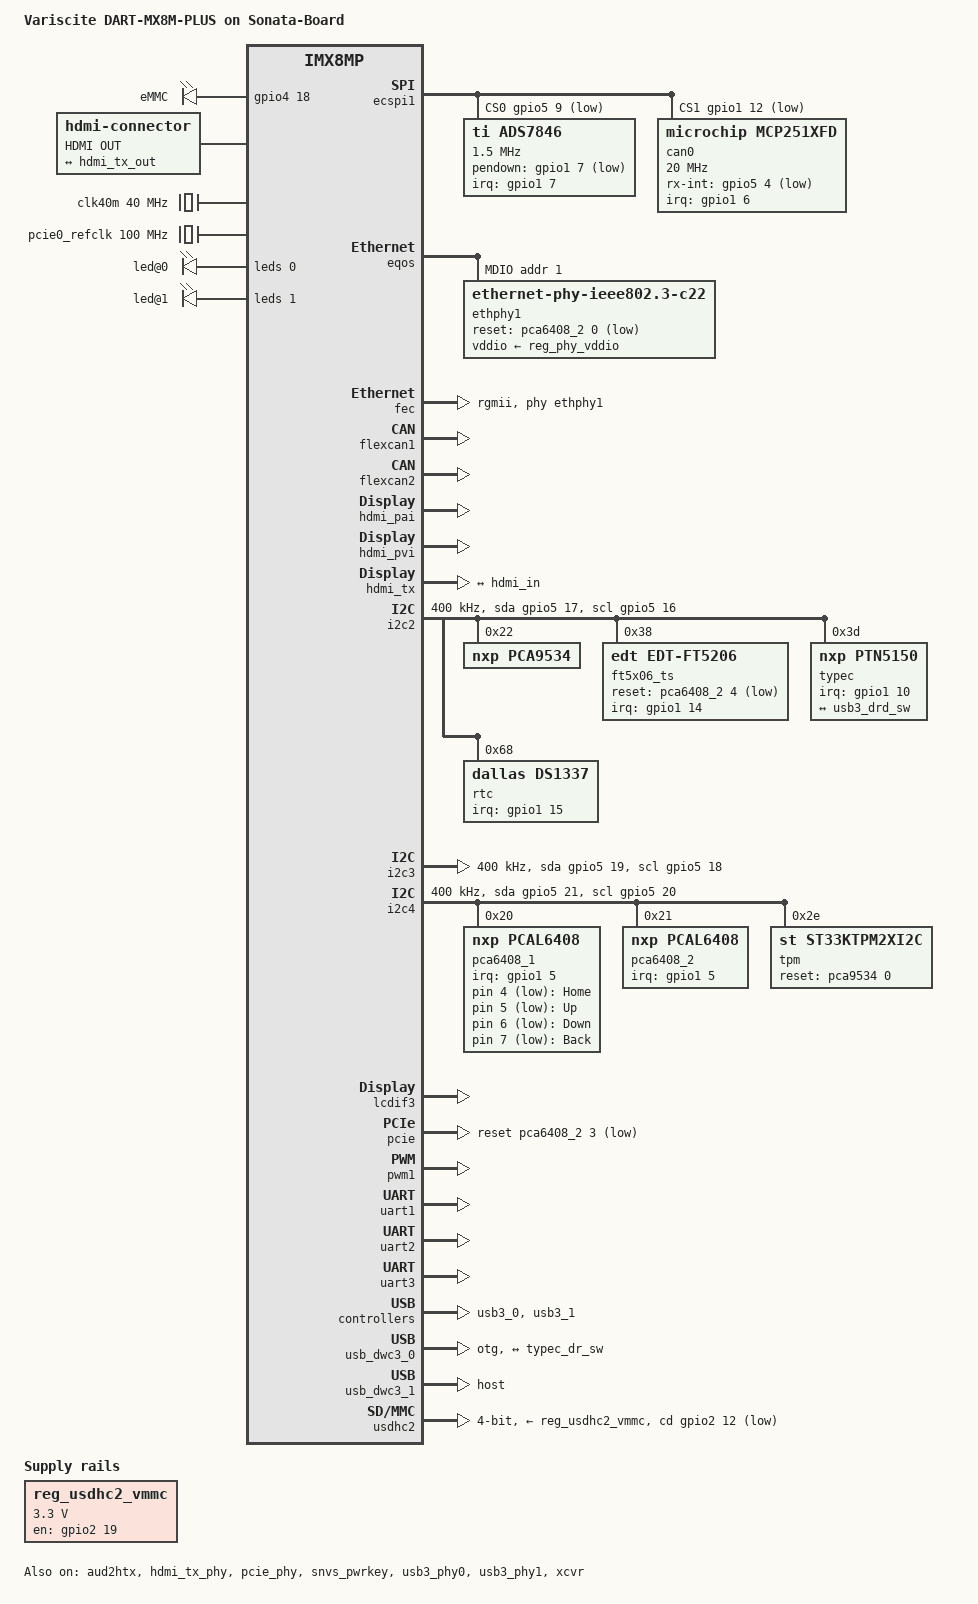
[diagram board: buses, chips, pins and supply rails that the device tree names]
// SPDX-License-Identifier: (GPL-2.0+ OR MIT)
/*
 * Variscite Sonata carrier board for DART-MX8M-PLUS
 *
 * Link: https://variscite.com/carrier-boards/sonata-board/
 *
 * Copyright (C) 2026 Variscite Ltd. - https://www.variscite.com/
 *
 */

/dts-v1/;

#include <dt-bindings/leds/common.h>
#include <dt-bindings/phy/phy-imx8-pcie.h>
#include "imx8mp-var-dart.dtsi"

/ {
	model = "Variscite DART-MX8M-PLUS on Sonata-Board";
	compatible = "variscite,var-dart-mx8mp-sonata",
		     "variscite,var-dart-mx8mp",
		     "fsl,imx8mp";

	chosen {
		stdout-path = &uart1;
	};

	gpio-keys {
		compatible = "gpio-keys";

		button-home {
			label = "Home";
			linux,code = <KEY_HOME>;
			gpios = <&pca6408_1 4 GPIO_ACTIVE_LOW>;
			wakeup-source;
		};

		button-up {
			label = "Up";
			linux,code = <KEY_UP>;
			gpios = <&pca6408_1 5 GPIO_ACTIVE_LOW>;
			wakeup-source;
		};

		button-down {
			label = "Down";
			linux,code = <KEY_DOWN>;
			gpios = <&pca6408_1 6 GPIO_ACTIVE_LOW>;
			wakeup-source;
		};

		button-back {
			label = "Back";
			linux,code = <KEY_BACK>;
			gpios = <&pca6408_1 7 GPIO_ACTIVE_LOW>;
			wakeup-source;
		};
	};

	gpio-leds {
		compatible = "gpio-leds";
		pinctrl-names = "default";
		pinctrl-0 = <&pinctrl_gpio_leds>;

		led-emmc {
			gpios = <&gpio4 18 GPIO_ACTIVE_HIGH>;
			label = "eMMC";
			linux,default-trigger = "mmc2";
		};
	};

	native-hdmi-connector {
		compatible = "hdmi-connector";
		label = "HDMI OUT";
		type = "a";

		port {
			hdmi_in: endpoint {
				remote-endpoint = <&hdmi_tx_out>;
			};
		};
	};

	clk40m: oscillator {
		compatible = "fixed-clock";
		#clock-cells = <0>;
		clock-frequency = <40000000>;
		clock-output-names = "can_osc";
	};

	pcie0_refclk: pcie0-refclk {
		compatible = "fixed-clock";
		#clock-cells = <0>;
		clock-frequency = <100000000>;
	};

	reg_usdhc2_vmmc: regulator-vmmc-usdhc2 {
		compatible = "regulator-fixed";
		pinctrl-names = "default";
		pinctrl-0 = <&pinctrl_vmmc_usdhc2>;
		regulator-name = "VSD_3V3";
		regulator-min-microvolt = <3300000>;
		regulator-max-microvolt = <3300000>;
		gpio = <&gpio2 19 GPIO_ACTIVE_HIGH>;
		enable-active-high;
		startup-delay-us = <100>;
		off-on-delay-us = <12000>;
	};

	sound-hdmi {
		compatible = "fsl,imx-audio-hdmi";
		model = "audio-hdmi";
		audio-cpu = <&aud2htx>;
		hdmi-out;
	};

	sound-xcvr {
		compatible = "fsl,imx-audio-card";
		model = "imx-audio-xcvr";

		pri-dai-link {
			link-name = "XCVR PCM";

			cpu {
				sound-dai = <&xcvr>;
			};
		};
	};
};

&aud2htx {
	status = "okay";
};

&ecspi1 {
	pinctrl-names = "default";
	pinctrl-0 = <&pinctrl_ecspi1>;
	cs-gpios = <&gpio5  9 GPIO_ACTIVE_LOW>,
		   <&gpio1 12 GPIO_ACTIVE_LOW>;
	status = "okay";

	ads7846: touchscreen@0 {
		compatible = "ti,ads7846";
		reg = <0>;
		pinctrl-names = "default";
		pinctrl-0 = <&pinctrl_restouch>;
		interrupt-parent = <&gpio1>;
		interrupts = <7 IRQ_TYPE_EDGE_FALLING>;
		spi-max-frequency = <1500000>;
		pendown-gpio = <&gpio1 7 GPIO_ACTIVE_LOW>;
		ti,x-min = /bits/ 16 <125>;
		ti,x-max = /bits/ 16 <4008>;
		ti,y-min = /bits/ 16 <282>;
		ti,y-max = /bits/ 16 <3864>;
		ti,x-plate-ohms = /bits/ 16 <180>;
		ti,pressure-max = /bits/ 16 <255>;
		ti,debounce-max = /bits/ 16 <10>;
		ti,debounce-tol = /bits/ 16 <3>;
		ti,debounce-rep = /bits/ 16 <1>;
		ti,settle-delay-usec = /bits/ 16 <150>;
		ti,keep-vref-on;
		wakeup-source;
	};

	can0: can@1 {
		compatible = "microchip,mcp251xfd";
		reg = <1>;
		pinctrl-names = "default";
		pinctrl-0 = <&pinctrl_can>;
		interrupt-parent = <&gpio1>;
		interrupts = <6 IRQ_TYPE_LEVEL_LOW>;
		microchip,rx-int-gpios = <&gpio5 4 GPIO_ACTIVE_LOW>;
		clocks = <&clk40m>;
		spi-max-frequency = <20000000>;
	};
};

&eqos {
	mdio {
		ethphy1: ethernet-phy@1 {
			compatible = "ethernet-phy-ieee802.3-c22";
			reg = <1>;
			reset-gpios = <&pca6408_2 0 GPIO_ACTIVE_LOW>;
			reset-assert-us = <10000>;
			reset-deassert-us = <20000>;
			vddio-supply = <&reg_phy_vddio>;

			leds {
				#address-cells = <1>;
				#size-cells = <0>;

				led@0 {
					reg = <0>;
					color = <LED_COLOR_ID_YELLOW>;
					function = LED_FUNCTION_LAN;
					linux,default-trigger = "netdev";
				};

				led@1 {
					reg = <1>;
					color = <LED_COLOR_ID_GREEN>;
					function = LED_FUNCTION_LAN;
					linux,default-trigger = "netdev";
				};
			};
		};
	};
};

&ethphy0 {
	leds {
		#address-cells = <1>;
		#size-cells = <0>;

		led@0 {
			reg = <0>;
			color = <LED_COLOR_ID_YELLOW>;
			function = LED_FUNCTION_LAN;
			linux,default-trigger = "netdev";
		};

		led@1 {
			reg = <1>;
			color = <LED_COLOR_ID_GREEN>;
			function = LED_FUNCTION_LAN;
			linux,default-trigger = "netdev";
		};
	};
};

&fec {
	pinctrl-names = "default";
	pinctrl-0 = <&pinctrl_fec>;
	/*
	 * The required RGMII TX and RX 2ns delays are implemented directly
	 * in hardware via passive delay elements on the SOM PCB.
	 * No delay configuration is needed in software via PHY driver.
	 */
	phy-mode = "rgmii";
	phy-handle = <&ethphy1>;
	status = "okay";
};

&flexcan1 {
	pinctrl-names = "default";
	pinctrl-0 = <&pinctrl_flexcan1>;
	status = "okay";
};

&flexcan2 {
	pinctrl-names = "default";
	pinctrl-0 = <&pinctrl_flexcan2>;
	status = "okay";
};

&hdmi_pai {
	status = "okay";
};

&hdmi_pvi {
	status = "okay";
};

&hdmi_tx {
	pinctrl-names = "default";
	pinctrl-0 = <&pinctrl_hdmi>;
	status = "okay";

	ports {
		port@1 {
			hdmi_tx_out: endpoint {
				remote-endpoint = <&hdmi_in>;
			};
		};
	};
};

&hdmi_tx_phy {
	status = "okay";
};

&i2c2 {
	clock-frequency = <400000>;
	pinctrl-names = "default", "gpio";
	pinctrl-0 = <&pinctrl_i2c2>;
	pinctrl-1 = <&pinctrl_i2c2_gpio>;
	scl-gpios = <&gpio5 16 (GPIO_ACTIVE_HIGH | GPIO_OPEN_DRAIN)>;
	sda-gpios = <&gpio5 17 (GPIO_ACTIVE_HIGH | GPIO_OPEN_DRAIN)>;
	status = "okay";

	pca9534: gpio@22 {
		compatible = "nxp,pca9534";
		reg = <0x22>;
		gpio-controller;
		#gpio-cells = <2>;

		eth10g-en-hog {
			gpio-hog;
			gpios = <5 GPIO_ACTIVE_HIGH>;
			output-low;
			line-name = "eth10g_sel";
		};

		pcie2-en-hog {
			gpio-hog;
			gpios = <6 GPIO_ACTIVE_HIGH>;
			output-high;
			line-name = "pcie2_sel";
		};

		/* RGB_SEL
		 * Keep signal low and not floating
		 */
		lvds-brg-enable-hog {
			gpio-hog;
			gpios = <7 GPIO_ACTIVE_HIGH>;
			output-low;
			line-name = "lvds_brg_en";
		};
	};

	/* Capacitive touch controller */
	ft5x06_ts: touchscreen@38 {
		compatible = "edt,edt-ft5206";
		reg = <0x38>;
		pinctrl-names = "default";
		pinctrl-0 = <&pinctrl_captouch>;
		reset-gpios = <&pca6408_2 4 GPIO_ACTIVE_LOW>;
		interrupt-parent = <&gpio1>;
		interrupts = <14 IRQ_TYPE_EDGE_FALLING>;
		touchscreen-size-x = <800>;
		touchscreen-size-y = <480>;
		touchscreen-inverted-x;
		touchscreen-inverted-y;
		wakeup-source;
	};

	typec@3d {
		compatible = "nxp,ptn5150";
		reg = <0x3d>;
		pinctrl-names = "default";
		pinctrl-0 = <&pinctrl_extcon>;
		interrupt-parent = <&gpio1>;
		interrupts = <10 IRQ_TYPE_EDGE_FALLING>;

		port {
			typec_dr_sw: endpoint {
				remote-endpoint = <&usb3_drd_sw>;
			};
		};
	};

	rtc@68 {
		compatible = "dallas,ds1337";
		reg = <0x68>;
		pinctrl-names = "default";
		pinctrl-0 = <&pinctrl_rtc>;
		interrupt-parent = <&gpio1>;
		interrupts = <15 IRQ_TYPE_EDGE_FALLING>;
		wakeup-source;
	};
};

&i2c3 {
	clock-frequency = <400000>;
	pinctrl-names = "default", "gpio";
	pinctrl-0 = <&pinctrl_i2c3>;
	pinctrl-1 = <&pinctrl_i2c3_gpio>;
	scl-gpios = <&gpio5 18 (GPIO_ACTIVE_HIGH | GPIO_OPEN_DRAIN)>;
	sda-gpios = <&gpio5 19 (GPIO_ACTIVE_HIGH | GPIO_OPEN_DRAIN)>;
	status = "okay";
};

&i2c4 {
	clock-frequency = <400000>;
	pinctrl-names = "default", "gpio";
	pinctrl-0 = <&pinctrl_i2c4>;
	pinctrl-1 = <&pinctrl_i2c4_gpio>;
	scl-gpios = <&gpio5 20 (GPIO_ACTIVE_HIGH | GPIO_OPEN_DRAIN)>;
	sda-gpios = <&gpio5 21 (GPIO_ACTIVE_HIGH | GPIO_OPEN_DRAIN)>;
	status = "okay";

	pca6408_1: gpio@20 {
		compatible = "nxp,pcal6408";
		reg = <0x20>;
		gpio-controller;
		#gpio-cells = <2>;
		pinctrl-names = "default";
		pinctrl-0 = <&pinctrl_pca6408>;
		interrupt-parent = <&gpio1>;
		interrupts = <5 IRQ_TYPE_LEVEL_LOW>;
	};

	pca6408_2: gpio@21 {
		compatible = "nxp,pcal6408";
		reg = <0x21>;
		gpio-controller;
		#gpio-cells = <2>;
		interrupt-parent = <&gpio1>;
		interrupts = <5 IRQ_TYPE_LEVEL_LOW>;
	};

	st33ktpm2xi2c: tpm@2e {
		compatible = "st,st33ktpm2xi2c", "tcg,tpm-tis-i2c";
		reg = <0x2e>;
		label = "tpm";
		reset-gpios = <&pca9534 0 GPIO_ACTIVE_HIGH>;
	};
};

&lcdif3 {
	status = "okay";
};

&pcie {
	reset-gpios = <&pca6408_2 3 GPIO_ACTIVE_LOW>;
	status = "okay";
};

&pcie_phy {
	fsl,refclk-pad-mode = <IMX8_PCIE_REFCLK_PAD_INPUT>;
	clocks = <&pcie0_refclk>;
	clock-names = "ref";
	status = "okay";
};

&pwm1 {
	pinctrl-names = "default";
	pinctrl-0 = <&pinctrl_pwm1>;
	status = "okay";
};

&snvs_pwrkey {
	status = "okay";
};

&snvs_rtc {
	status = "disabled";
};

/* Console */
&uart1 {
	pinctrl-names = "default";
	pinctrl-0 = <&pinctrl_uart1>;
	status = "okay";
};

/* Header */
&uart2 {
	pinctrl-names = "default";
	pinctrl-0 = <&pinctrl_uart2>;
	status = "okay";
};

/* Header */
&uart3 {
	pinctrl-names = "default";
	pinctrl-0 = <&pinctrl_uart3>;
	status = "okay";
};

&usb3_0 {
	status = "okay";
};

&usb3_1 {
	status = "okay";
};

&usb_dwc3_0 {
	dr_mode = "otg";
	hnp-disable;
	srp-disable;
	adp-disable;
	usb-role-switch;
	snps,dis-u1-entry-quirk;
	snps,dis-u2-entry-quirk;
	status = "okay";

	port {
		usb3_drd_sw: endpoint {
			remote-endpoint = <&typec_dr_sw>;
		};
	};
};

&usb_dwc3_1 {
	dr_mode = "host";
	status = "okay";
};

&usb3_phy0 {
	fsl,phy-tx-vref-tune-percent = <122>;
	fsl,phy-tx-preemp-amp-tune-microamp = <1800>;
	fsl,phy-tx-vboost-level-microvolt = <1156>;
	fsl,phy-comp-dis-tune-percent = <115>;
	fsl,phy-pcs-tx-deemph-3p5db-attenuation-db = <33>;
	fsl,phy-pcs-tx-swing-full-percent = <100>;
	status = "okay";
};

&usb3_phy1 {
	fsl,phy-tx-preemp-amp-tune-microamp = <1800>;
	fsl,phy-tx-vref-tune-percent = <116>;
	status = "okay";
};

&usdhc2 {
	pinctrl-names = "default", "state_100mhz", "state_200mhz";
	pinctrl-0 = <&pinctrl_usdhc2>, <&pinctrl_usdhc2_gpio>;
	pinctrl-1 = <&pinctrl_usdhc2_100mhz>, <&pinctrl_usdhc2_gpio>;
	pinctrl-2 = <&pinctrl_usdhc2_200mhz>, <&pinctrl_usdhc2_gpio>;
	cd-gpios = <&gpio2 12 GPIO_ACTIVE_LOW>;
	vmmc-supply = <&reg_usdhc2_vmmc>;
	bus-width = <4>;
	status = "okay";
};

&xcvr {
	#sound-dai-cells = <0>;
	status = "okay";
};

&iomuxc {
	pinctrl_can: cangrp {
		fsl,pins = <
			MX8MP_IOMUXC_GPIO1_IO06__GPIO1_IO06		0x1c6
			MX8MP_IOMUXC_SPDIF_RX__GPIO5_IO04		0x16
		>;
	};

	pinctrl_captouch: captouchgrp {
		fsl,pins = <
			MX8MP_IOMUXC_GPIO1_IO14__GPIO1_IO14		0x16
		>;
	};

	pinctrl_ecspi1: ecspi1grp {
		fsl,pins = <
			MX8MP_IOMUXC_ECSPI1_SCLK__ECSPI1_SCLK		0x12
			MX8MP_IOMUXC_ECSPI1_MOSI__ECSPI1_MOSI		0x12
			MX8MP_IOMUXC_ECSPI1_MISO__ECSPI1_MISO		0x12
			MX8MP_IOMUXC_ECSPI1_SS0__GPIO5_IO09		0x12
			MX8MP_IOMUXC_GPIO1_IO12__GPIO1_IO12		0x12
		>;
	};

	pinctrl_extcon: extcongrp {
		fsl,pins = <
			MX8MP_IOMUXC_GPIO1_IO10__GPIO1_IO10		0x10
		>;
	};

	pinctrl_fec: fecgrp {
		fsl,pins = <
			MX8MP_IOMUXC_SAI1_RXD4__ENET1_RGMII_RD0		0x90
			MX8MP_IOMUXC_SAI1_RXD5__ENET1_RGMII_RD1		0x90
			MX8MP_IOMUXC_SAI1_RXD6__ENET1_RGMII_RD2		0x90
			MX8MP_IOMUXC_SAI1_RXD7__ENET1_RGMII_RD3		0x1d0
			MX8MP_IOMUXC_SAI1_TXC__ENET1_RGMII_RXC		0x90
			MX8MP_IOMUXC_SAI1_TXFS__ENET1_RGMII_RX_CTL	0x90
			MX8MP_IOMUXC_SAI1_TXD0__ENET1_RGMII_TD0		0x00
			MX8MP_IOMUXC_SAI1_TXD1__ENET1_RGMII_TD1		0x00
			MX8MP_IOMUXC_SAI1_TXD2__ENET1_RGMII_TD2		0x00
			MX8MP_IOMUXC_SAI1_TXD3__ENET1_RGMII_TD3		0x00
			MX8MP_IOMUXC_SAI1_TXD4__ENET1_RGMII_TX_CTL	0x00
			MX8MP_IOMUXC_SAI1_TXD5__ENET1_RGMII_TXC		0x00
		>;
	};

	pinctrl_flexcan1: flexcan1grp {
		fsl,pins = <
			MX8MP_IOMUXC_SAI2_RXC__CAN1_TX			0x154
			MX8MP_IOMUXC_SAI2_TXC__CAN1_RX			0x154
		>;
	};

	pinctrl_flexcan2: flexcan2grp {
		fsl,pins = <
			MX8MP_IOMUXC_SAI2_MCLK__CAN2_RX			0x154
			MX8MP_IOMUXC_SAI2_TXD0__CAN2_TX			0x154
		>;
	};

	pinctrl_gpio_leds: ledgrp {
		fsl,pins = <
			MX8MP_IOMUXC_SAI1_TXD6__GPIO4_IO18		0xc6
		>;
	};

	pinctrl_hdmi: hdmigrp {
		fsl,pins = <
			MX8MP_IOMUXC_HDMI_DDC_SCL__HDMIMIX_HDMI_SCL	0x1c2
			MX8MP_IOMUXC_HDMI_DDC_SDA__HDMIMIX_HDMI_SDA	0x1c2
			MX8MP_IOMUXC_HDMI_CEC__HDMIMIX_HDMI_CEC		0x10
			MX8MP_IOMUXC_HDMI_HPD__HDMIMIX_HDMI_HPD		0x10
		>;
	};

	pinctrl_i2c2: i2c2grp {
		fsl,pins = <
			MX8MP_IOMUXC_I2C2_SCL__I2C2_SCL			0x400001c2
			MX8MP_IOMUXC_I2C2_SDA__I2C2_SDA			0x400001c2
		>;
	};

	pinctrl_i2c2_gpio: i2c2gpiogrp {
		fsl,pins = <
			MX8MP_IOMUXC_I2C2_SCL__GPIO5_IO16		0x1c2
			MX8MP_IOMUXC_I2C2_SDA__GPIO5_IO17		0x1c2
		>;
	};

	pinctrl_i2c3: i2c3grp {
		fsl,pins = <
			MX8MP_IOMUXC_I2C3_SCL__I2C3_SCL			0x400001c2
			MX8MP_IOMUXC_I2C3_SDA__I2C3_SDA			0x400001c2
		>;
	};

	pinctrl_i2c3_gpio: i2c3gpiogrp {
		fsl,pins = <
			MX8MP_IOMUXC_I2C3_SCL__GPIO5_IO18		0x1c2
			MX8MP_IOMUXC_I2C3_SDA__GPIO5_IO19		0x1c2
		>;
	};

	pinctrl_i2c4: i2c4grp {
		fsl,pins = <
			MX8MP_IOMUXC_I2C4_SCL__I2C4_SCL			0x400001c2
			MX8MP_IOMUXC_I2C4_SDA__I2C4_SDA			0x400001c2
		>;
	};

	pinctrl_i2c4_gpio: i2c4gpiogrp {
		fsl,pins = <
			MX8MP_IOMUXC_I2C4_SCL__GPIO5_IO20		0x1c2
			MX8MP_IOMUXC_I2C4_SDA__GPIO5_IO21		0x1c2
		>;
	};

	pinctrl_pca6408: pca6408grp {
		fsl,pins = <
			MX8MP_IOMUXC_GPIO1_IO05__GPIO1_IO05		0x1c6
		>;
	};

	pinctrl_pwm1: pwm1grp {
		fsl,pins = <
			MX8MP_IOMUXC_GPIO1_IO01__PWM1_OUT		0x116
		>;
	};

	pinctrl_restouch: restouchgrp {
		fsl,pins = <
			MX8MP_IOMUXC_GPIO1_IO07__GPIO1_IO07		0xc0
		>;
	};

	pinctrl_rtc: rtcgrp {
		fsl,pins = <
			MX8MP_IOMUXC_GPIO1_IO15__GPIO1_IO15		0x1c0
		>;
	};

	pinctrl_uart1: uart1grp {
		fsl,pins = <
			MX8MP_IOMUXC_UART1_RXD__UART1_DCE_RX		0x40
			MX8MP_IOMUXC_UART1_TXD__UART1_DCE_TX		0x40
		>;
	};

	pinctrl_uart2: uart2grp {
		fsl,pins = <
			MX8MP_IOMUXC_UART2_RXD__UART2_DCE_RX		0x40
			MX8MP_IOMUXC_UART2_TXD__UART2_DCE_TX		0x40
		>;
	};

	pinctrl_uart3: uart3grp {
		fsl,pins = <
			MX8MP_IOMUXC_UART3_RXD__UART3_DCE_RX		0x40
			MX8MP_IOMUXC_UART3_TXD__UART3_DCE_TX		0x40
		>;
	};

	pinctrl_usdhc2: usdhc2grp {
		fsl,pins = <
			MX8MP_IOMUXC_SD2_CLK__USDHC2_CLK		0x190
			MX8MP_IOMUXC_SD2_CMD__USDHC2_CMD		0x1d0
			MX8MP_IOMUXC_SD2_DATA0__USDHC2_DATA0		0x1d0
			MX8MP_IOMUXC_SD2_DATA1__USDHC2_DATA1		0x1d0
			MX8MP_IOMUXC_SD2_DATA2__USDHC2_DATA2		0x1d0
			MX8MP_IOMUXC_SD2_DATA3__USDHC2_DATA3		0x1d0
			MX8MP_IOMUXC_GPIO1_IO04__USDHC2_VSELECT		0xc0
		>;
	};

	pinctrl_usdhc2_100mhz: usdhc2-100mhzgrp {
		fsl,pins = <
			MX8MP_IOMUXC_SD2_CLK__USDHC2_CLK		0x194
			MX8MP_IOMUXC_SD2_CMD__USDHC2_CMD		0x1d4
			MX8MP_IOMUXC_SD2_DATA0__USDHC2_DATA0		0x1d4
			MX8MP_IOMUXC_SD2_DATA1__USDHC2_DATA1		0x1d4
			MX8MP_IOMUXC_SD2_DATA2__USDHC2_DATA2		0x1d4
			MX8MP_IOMUXC_SD2_DATA3__USDHC2_DATA3		0x1d4
			MX8MP_IOMUXC_GPIO1_IO04__USDHC2_VSELECT		0xc0
		>;
	};

	pinctrl_usdhc2_200mhz: usdhc2-200mhzgrp {
		fsl,pins = <
			MX8MP_IOMUXC_SD2_CLK__USDHC2_CLK		0x196
			MX8MP_IOMUXC_SD2_CMD__USDHC2_CMD		0x1d6
			MX8MP_IOMUXC_SD2_DATA0__USDHC2_DATA0		0x1d6
			MX8MP_IOMUXC_SD2_DATA1__USDHC2_DATA1		0x1d6
			MX8MP_IOMUXC_SD2_DATA2__USDHC2_DATA2		0x1d6
			MX8MP_IOMUXC_SD2_DATA3__USDHC2_DATA3		0x1d6
			MX8MP_IOMUXC_GPIO1_IO04__USDHC2_VSELECT		0xc0
		>;
	};

	pinctrl_vmmc_usdhc2: regvmmc-usdhc2grp {
		fsl,pins = <
			MX8MP_IOMUXC_SD2_RESET_B__GPIO2_IO19		0x40
		>;
	};

	pinctrl_usdhc2_gpio: usdhc2-gpiogrp {
		fsl,pins = <
			MX8MP_IOMUXC_SD2_CD_B__GPIO2_IO12		0x1c4
		>;
	};
};
